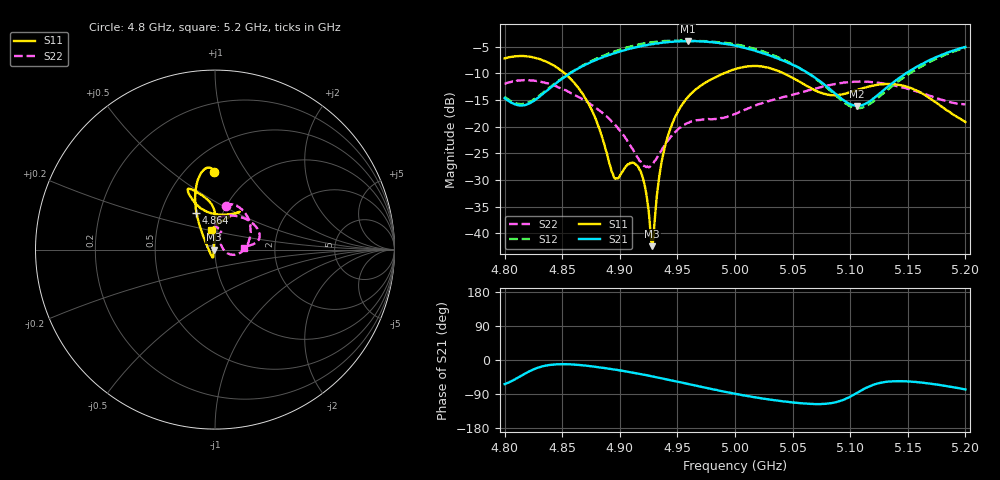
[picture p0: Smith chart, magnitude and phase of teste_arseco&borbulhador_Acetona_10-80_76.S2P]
! Network Analyzer HP8722D
! Hewlett-Packard
! Data name: Linha & Wilkinson
! Saver's name: Rodrigo Anjos
! Comments: Teste da utilização de aquisição
! continua pelo VNA HP8722D
! Time and date: 25/4/2025 15:54
!  Frequency  S11  S21  S12  S22
# HZ  S  MA R 50
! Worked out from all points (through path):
!   401 points, 4.8 GHz to 5.2 GHz, reference 50 ohm
!   highest |S21| = -3.97 dB at 4.959 GHz (marker M1); lowest = -16.1 dB at 5.106 GHz (marker M2)
!   lowest |S11| = -42.4 dB at 4.928 GHz (marker M3), VSWR 1.02, Z = 49.3 - j0.105 ohm
!   |S11| at or under -10 dB: 4.852 GHz to 4.991 GHz (138.7 MHz wide, 2.82 % of centre); 5.042 GHz to end of sweep
!   |S22| runs from -27.6 to -11.3 dB; largest |S21 - S12| = 1.2
!   S11 on the Smith chart (normalised r, x): 4.8 GHz: 0.68, +0.73; 4.864 GHz: 0.75, +0.33; 5.2 GHz: 0.94, +0.21
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4.8e9  0.4348 90.5  0.1846 -63.6  0.1905 69.9  0.2514 76.2
4.82e9  0.4532 96.9  0.1618 -32.0  0.1674 98.7  0.2713 61.3
4.843e9  0.3718 106.2  0.2468 -11.9  0.2503 118.8  0.242 36.9
4.864e9  0.2308 116.7  0.3508 -12.9  0.3534 120.9  0.1893 11.8
4.867e9  0.2079 118.3  0.3653 -14.0  0.3684 120.6  0.1823 8.5
4.88e9  0.1107 128.8  0.4238 -18.6  0.4337 118.2  0.148 -5.5
4.895e9  0.03323 -173.0  0.4865 -25.1  0.5028 113.5  0.1061 -15.8
4.909e9  0.04564 -108.1  0.5367 -32.2  0.5614 107.5  0.06671 -14.2
4.917e9  0.03971 -103.8  0.5619 -36.7  0.5903 103.5  0.04782 -0.8
4.922e9  0.02692 -107.4  0.5756 -39.3  0.6035 100.6  0.04239 16.6
4.928e9  0.007572 -171.9  0.5919 -43.1  0.6177 96.9  0.04387 41.3
4.93e9  0.01206 124.7  0.5967 -44.3  0.6198 95.6  0.04732 48.4
4.934e9  0.03258 99.8  0.6038 -46.9  0.6288 93.1  0.0553 58.8
4.943e9  0.08986 90.9  0.6203 -52.6  0.6366 87.3  0.07668 68.9
4.959e9  0.1883 89.4  0.6331 -63.0  0.639 77.1  0.1082 71.4
5e9  0.3455 109.0  0.5724 -89.1  0.5921 50.7  0.131 88.2
5.03e9  0.3536 115.1  0.4639 -104.2  0.4807 33.7  0.1741 85.0
5.067e9  0.2259 105.1  0.3002 -115.9  0.2971 23.6  0.2226 56.9
5.106e9  0.2195 64.4  0.1564 -86.6  0.1485 56.4  0.2631 24.7
5.134e9  0.2508 57.2  0.2426 -56.6  0.228 88.7  0.2476 12.3
5.168e9  0.1874 69.2  0.4151 -61.9  0.3986 85.2  0.1959 6.9
5.2e9  0.1104 100.5  0.5566 -77.7  0.5452 70.0  0.1613 3.7
